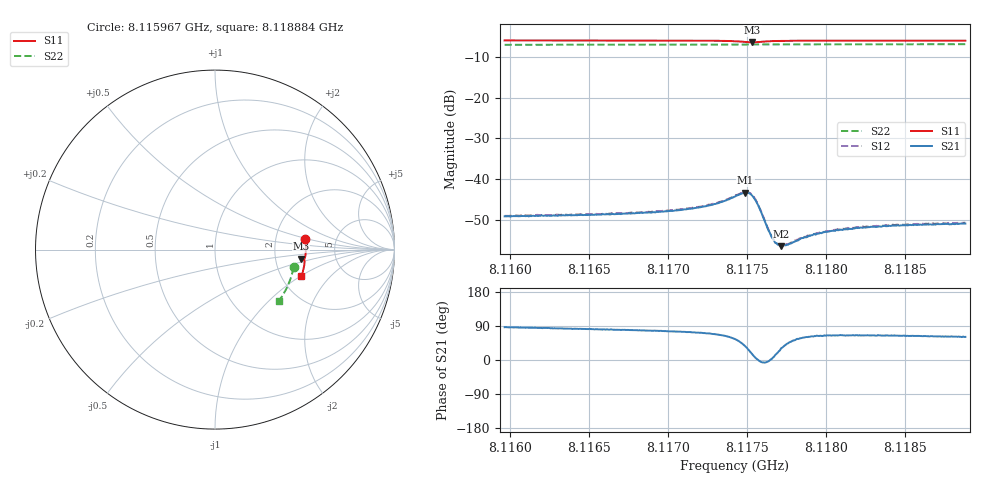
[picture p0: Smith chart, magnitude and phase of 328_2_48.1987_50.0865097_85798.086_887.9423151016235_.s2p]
#  HZ  S  RI  R  50.00
! Rohde & Schwarz Vector Network Analyzer
! Rohde-Schwarz,ZNB20-2Port,1311601062101988,3.16
! Created: UTC 3/20/2024, 11:50:46 AM
! freq[Hz]  re:S11  im:S11  re:S21  im:S21  re:S12  im:S12  re:S22  im:S22
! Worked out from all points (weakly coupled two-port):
!   401 points, 8.115967 GHz to 8.118884 GHz, reference 50 ohm
!   highest |S21| = -43.32 dB at 8.117491 GHz (marker M1); lowest = -56.5 dB at 8.117717 GHz (marker M2)
!   lowest |S11| = -6.4 dB at 8.117535 GHz (marker M3), VSWR 2.86, Z = 140 - j18.5 ohm
!   |S11| at or under -10 dB: nowhere
!   |S22| runs from -7.0 to -6.8 dB; largest |S21 - S12| = 0.00018
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8.1159668e9  0.5037 0.0606  0.000211 0.00347  0.000272 0.00354  0.4374 -0.0992
8.1164554e9  0.5062 0.0239  0.000495 0.00361  0.000544 0.00361  0.4299 -0.1322
8.116944e9  0.5055 -0.0137  0.000905 0.00386  0.000971 0.00393  0.42 -0.1645
8.1172211e9  0.5029 -0.0367  0.00145 0.00433  0.00155 0.00439  0.4131 -0.1828
8.1173232e9  0.5002 -0.0462  0.00201 0.00467  0.00213 0.00474  0.4103 -0.1894
8.1174253e9  0.4931 -0.0563  0.00348 0.00502  0.00359 0.00506  0.4072 -0.196
8.1174909e9  0.483 -0.0579  0.00552 0.00401  0.00564 0.00401  0.405 -0.1999
8.1175128e9  0.4796 -0.055  0.00605 0.00295  0.00619 0.00293  0.4044 -0.2013
8.1175346e9  0.4787 -0.0507  0.00603 0.00162  0.00616 0.00163  0.4039 -0.2022
8.1175492e9  0.4795 -0.0479  0.00566 0.000824  0.00577 0.00078  0.4035 -0.203
8.1175711e9  0.4829 -0.0449  0.0048 -2.71e-06  0.00485 -5.18e-05  0.4029 -0.2043
8.1176367e9  0.4933 -0.0475  0.00234 -0.000143  0.0024 -0.00014  0.4016 -0.2085
8.1176586e9  0.4953 -0.0499  0.00191 0.000106  0.00197 0.000111  0.401 -0.2099
8.1176878e9  0.497 -0.0534  0.00156 0.000454  0.00157 0.00044  0.4001 -0.2119
8.117717e9  0.4981 -0.0568  0.00128 0.00077  0.00134 0.000758  0.3993 -0.2138
8.1177607e9  0.4988 -0.0614  0.00112 0.00108  0.00114 0.0011  0.3981 -0.2166
8.1178482e9  0.4991 -0.0699  0.001 0.00161  0.00102 0.00159  0.3953 -0.2221
8.1179138e9  0.4986 -0.0758  0.000938 0.00181  0.000987 0.00183  0.3934 -0.2263
8.1179941e9  0.4977 -0.0825  0.00095 0.00203  0.00098 0.00202  0.3904 -0.2313
8.1181253e9  0.4961 -0.0929  0.00105 0.00217  0.00103 0.00224  0.3862 -0.2394
8.1184024e9  0.4916 -0.1138  0.00116 0.0024  0.00117 0.00243  0.3762 -0.2562
8.1188837e9  0.4819 -0.1488  0.00137 0.00248  0.00143 0.00253  0.3573 -0.2841
